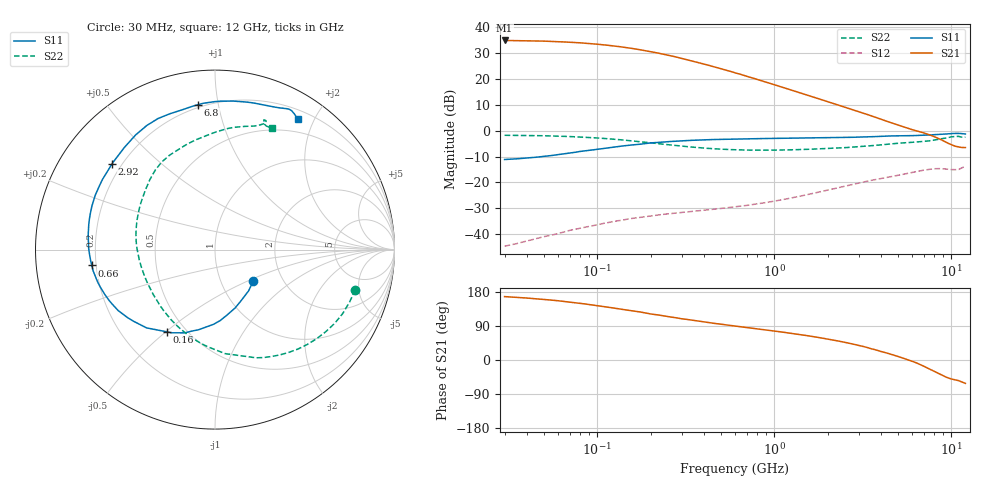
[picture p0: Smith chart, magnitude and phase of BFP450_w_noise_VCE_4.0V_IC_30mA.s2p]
! (c) 2015  Infineon Technologies AG, Munich
! Infineon Technologies  Discrete & RF Semiconductors
! BFP450
! VCE =  4.0 V,  IC =  30 mA
! Common Emitter S-Parameters:  Nov 2015
# GHz  S  MA  R  50
!  f  S11  S21  S12  S22
! GHz  MAG  ANG  MAG  ANG  MAG  ANG  MAG  ANG
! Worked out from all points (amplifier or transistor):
!   239 points, 30 MHz to 12 GHz, reference 50 ohm
!   highest |S21| = 34.8 dB at 30 MHz (marker M1)
!   |S21| within 3 dB of that: start of sweep to 154.8 MHz
!   unconditionally stable (mu >= 1): 1.436 GHz to end of sweep
!   at 300 MHz: K = 0.44, MSG = 29.7 dB, |S12| = -31.6 dB
!   at 1.88 GHz: K = 1.07, MAG = 16.0 dB, |S12| = -23.4 dB
!   at 12 GHz: K = 1.10, MAG = 1.7 dB, |S12| = -13.8 dB
!   lowest NFmin = 1.27 dB at 450 MHz
!   S11 on the Smith chart (normalised r, x): 30 MHz: 1.42, -0.55; 160 MHz: 0.39, -0.50; 660 MHz: 0.18, -0.06; 2.92 GHz: 0.16, +0.35; 6.8 GHz: 0.18, +0.87; 12 GHz: 0.32, +1.77
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0.03  0.277 -39.9  54.82 167.3  0.0059 55.8  0.8126 -16.0
0.04  0.2967 -51.0  54.06 163.5  0.0074 58.4  0.8048 -21.3
0.05  0.3185 -62.5  53.23 159.7  0.009 58.4  0.7958 -26.6
0.06  0.3437 -70.9  51.99 156.4  0.0103 59.4  0.7834 -31.6
0.07  0.3682 -78.9  50.66 152.6  0.0119 57.8  0.768 -36.6
0.085  0.406 -88.6  48.59 148.0  0.0136 56.0  0.7446 -43.5
0.12  0.4731 -106.1  43.53 138.1  0.0173 52.4  0.6894 -58.3
0.14  0.5066 -113.8  40.77 133.3  0.0189 49.8  0.6594 -65.8
0.16  0.5309 -120.4  38.13 129.3  0.0204 48.1  0.6291 -72.0
0.2  0.579 -131.1  33.31 121.5  0.0227 44.9  0.5825 -84.4
0.24  0.6047 -138.7  29.46 116.1  0.0244 42.9  0.5434 -94.1
0.3  0.6374 -147.8  24.71 108.8  0.0264 41.1  0.5024 -106.7
0.4  0.6631 -157.9  19.24 100.4  0.0291 40.1  0.4608 -122.1
0.5  0.6789 -164.9  15.59 94.3  0.0315 40.5  0.4386 -133.5
0.6  0.6894 -170.2  13.03 89.5  0.0338 41.3  0.4272 -142.3
0.66  0.6923 -172.7  11.89 87.3  0.0352 41.9  0.4231 -146.4
1  0.7073 176.1  7.657 76.3  0.0436 44.6  0.4205 -164.3
1.64  0.7254 162.1  4.499 62.2  0.0611 45.1  0.439 175.8
2.92  0.7462 140.4  2.387 39.7  0.0954 36.5  0.4853 149.0
4.5  0.789 118.8  1.441 15.7  0.1283 21.7  0.5542 126.9
6.8  0.8128 96.7  0.927 -13.7  0.1695 0.2  0.6147 102.0
12  0.8609 57.7  0.471 -61.7  0.2051 -39.8  0.7474 65.0
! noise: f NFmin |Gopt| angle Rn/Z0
0.45  1.27  0.43  -175  0.06
0.9  1.34  0.47  -172  0.06
1.9  1.45  0.53  -157  0.08
2.4  1.58  0.55  -148  0.1
